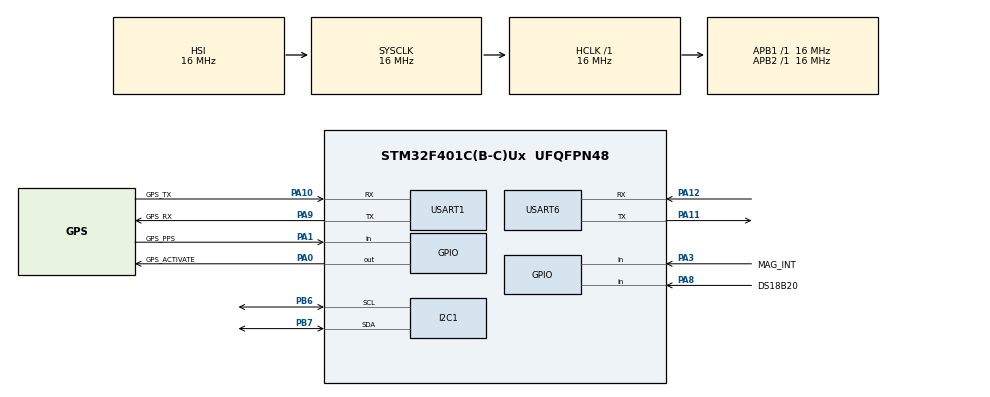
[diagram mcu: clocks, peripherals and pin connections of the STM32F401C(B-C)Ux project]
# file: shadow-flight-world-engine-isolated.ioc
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FREERTOS.Tasks01=defaultTask,0,128,StartDefaultTask,Default,NULL,Dynamic,NULL,NULL
Mcu.Family=STM32F4
Mcu.Name=STM32F401C(B-C)Ux
Mcu.Package=UFQFPN48
NVIC.PriorityGroup=NVIC_PRIORITYGROUP_4
NVIC.TIM1_UP_TIM10_IRQn=true\:15\:0\:false\:false\:true\:false\:false\:true\:true
NVIC.TimeBase=TIM1_UP_TIM10_IRQn
NVIC.TimeBaseIP=TIM1
PA0-WKUP.GPIO_Label=GPS_ACTIVATE
PA0-WKUP.Signal=GPIO_Output
PA1.GPIO_Label=GPS_PPS
PA1.Signal=GPIO_Input
PA10.GPIO_Label=GPS_TX
PA10.Mode=Asynchronous
PA10.Signal=USART1_RX
PA11.Mode=Asynchronous
PA11.Signal=USART6_TX
PA12.Mode=Asynchronous
PA12.Signal=USART6_RX
PA3.GPIO_Label=MAG_INT
PA3.Signal=GPIO_Input
PA8.GPIO_Label=DS18B20
PA8.Signal=GPIO_Input
PA9.GPIO_Label=GPS_RX
PA9.Mode=Asynchronous
PA9.Signal=USART1_TX
PB6.Mode=I2C
PB6.Signal=I2C1_SCL
PB7.Mode=I2C
PB7.Signal=I2C1_SDA
PH0\ -\ OSC_IN.Mode=HSE-External-Oscillator
PH0\ -\ OSC_IN.Signal=RCC_OSC_IN
PH1\ -\ OSC_OUT.Mode=HSE-External-Oscillator
PH1\ -\ OSC_OUT.Signal=RCC_OSC_OUT
ProjectManager.HeapSize=0x200
ProjectManager.StackSize=0x400
ProjectManager.TargetToolchain=STM32CubeIDE
RCC.AHBFreq_Value=16000000
RCC.APB1Freq_Value=16000000
RCC.APB2Freq_Value=16000000
RCC.CortexFreq_Value=16000000
RCC.HSE_VALUE=25000000
RCC.HSI_VALUE=16000000
RCC.LSE_VALUE=32768
RCC.SYSCLKFreq_VALUE=16000000
RCC.VCOOutputFreq_Value=192000000
USART1.VirtualMode=VM_ASYNC
USART6.VirtualMode=VM_ASYNC
VP_FREERTOS_VS_CMSIS_V1.Mode=CMSIS_V1
VP_SYS_VS_tim1.Mode=TIM1
board=custom

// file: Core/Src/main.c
/* USER CODE BEGIN Header */
/**
  ******************************************************************************
  * @file           : main.c
  * @brief          : Main program body
  ******************************************************************************
  * @attention
  *
  * Copyright (c) 2025 STMicroelectronics.
  * All rights reserved.
  *
  * This software is licensed under terms that can be found in the LICENSE file
  * in the root directory of this software component.
  * If no LICENSE file comes with this software, it is provided AS-IS.
  *
  ******************************************************************************
  */
/* USER CODE END Header */
#include "main.h"
#include "cmsis_os.h"

I2C_HandleTypeDef hi2c1;

UART_HandleTypeDef huart1;
UART_HandleTypeDef huart6;

osThreadId defaultTaskHandle;
/* USER CODE BEGIN PV */

/* task handles */
osThreadId debug_task_handle;
osThreadId read_board_voltage_task_handle;
osThreadId read_inhibit_switch_task_handle;
osThreadId activate_board_task_handle;
osThreadId deactivate_board_task_handle;
osThreadId read_mpu6050_task_handle;
osThreadId read_magnetometer_task_handle;
osThreadId read_adxl_task_handle;
osThreadId read_GPS_task_handle;
osThreadId read_sun_sensors_task_handle;

/*monitor tasks*/
osThreadId monitor_tasks_task_handle;

/* USER CODE END PV */

void SystemClock_Config(void);
static void MX_GPIO_Init(void);
static void MX_I2C1_Init(void);
static void MX_USART1_UART_Init(void);
static void MX_USART6_UART_Init(void);
void StartDefaultTask(void const * argument);

/* USER CODE BEGIN PFP */
void WORLD_ENGINE_debug_task(void const* argument);
void WORLD_ENGINE_read_board_voltage_task(void const* argument);
void WORLD_ENGINE_read_inhibit_switch_task(void const* argument);
void WORLD_ENGINE_activate_board_task(void const* argument);
void WORLD_ENGINE_deactivate_board_task(void const* argument);
void WORLD_ENGINE_read_mpu6050_task(void const* argument);
void WORLD_ENGINE_read_magnetometer_task(void const* argument);
void WORLD_ENGINE_read_adxl_task(void const* argument);
void WORLD_ENGINE_read_sun_sensors_task(void const* argument);
void WORLD_ENGINE_read_GPS(void const* argument);
void WORLD_ENGINE_monitor_tasks_task(void const* argument);

/* USER CODE END PFP */

int main(void)
{

  /* MCU Configuration--------------------------------------------------------*/

  /* Reset of all peripherals, Initializes the Flash interface and the Systick. */
  HAL_Init();

  /* Configure the system clock */
  SystemClock_Config();

  /* Initialize all configured peripherals */
  MX_GPIO_Init();
  MX_I2C1_Init();
  MX_USART1_UART_Init();
  MX_USART6_UART_Init();

  /* Create the thread(s) */
  /* definition and creation of defaultTask */
  osThreadDef(defaultTask, StartDefaultTask, osPriorityNormal, 0, 128);
  defaultTaskHandle = osThreadCreate(osThread(defaultTask), NULL);

  /* Start scheduler */
  osKernelStart();

  /* We should never get here as control is now taken by the scheduler */

  /* Infinite loop */
  while (1)
  {

  }
}

void SystemClock_Config(void)
{
  RCC_OscInitTypeDef RCC_OscInitStruct = {0};
  RCC_ClkInitTypeDef RCC_ClkInitStruct = {0};

  /** Configure the main internal regulator output voltage
  */
  __HAL_RCC_PWR_CLK_ENABLE();
  __HAL_PWR_VOLTAGESCALING_CONFIG(PWR_REGULATOR_VOLTAGE_SCALE2);

  /** Initializes the RCC Oscillators according to the specified parameters
  * in the RCC_OscInitTypeDef structure.
  */
  RCC_OscInitStruct.OscillatorType = RCC_OSCILLATORTYPE_HSI;
  RCC_OscInitStruct.HSIState = RCC_HSI_ON;
  RCC_OscInitStruct.HSICalibrationValue = RCC_HSICALIBRATION_DEFAULT;
  RCC_OscInitStruct.PLL.PLLState = RCC_PLL_NONE;
  if (HAL_RCC_OscConfig(&RCC_OscInitStruct) != HAL_OK)
  {
    Error_Handler();
  }

  /** Initializes the CPU, AHB and APB buses clocks
  */
  RCC_ClkInitStruct.ClockType = RCC_CLOCKTYPE_HCLK|RCC_CLOCKTYPE_SYSCLK
                              |RCC_CLOCKTYPE_PCLK1|RCC_CLOCKTYPE_PCLK2;
  RCC_ClkInitStruct.SYSCLKSource = RCC_SYSCLKSOURCE_HSI;
  RCC_ClkInitStruct.AHBCLKDivider = RCC_SYSCLK_DIV1;
  RCC_ClkInitStruct.APB1CLKDivider = RCC_HCLK_DIV1;
  RCC_ClkInitStruct.APB2CLKDivider = RCC_HCLK_DIV1;

  if (HAL_RCC_ClockConfig(&RCC_ClkInitStruct, FLASH_LATENCY_0) != HAL_OK)
  {
    Error_Handler();
  }
}

static void MX_I2C1_Init(void)
{

  hi2c1.Instance = I2C1;
  hi2c1.Init.ClockSpeed = 100000;
  hi2c1.Init.DutyCycle = I2C_DUTYCYCLE_2;
  hi2c1.Init.OwnAddress1 = 0;
  hi2c1.Init.AddressingMode = I2C_ADDRESSINGMODE_7BIT;
  hi2c1.Init.DualAddressMode = I2C_DUALADDRESS_DISABLE;
  hi2c1.Init.OwnAddress2 = 0;
  hi2c1.Init.GeneralCallMode = I2C_GENERALCALL_DISABLE;
  hi2c1.Init.NoStretchMode = I2C_NOSTRETCH_DISABLE;
  if (HAL_I2C_Init(&hi2c1) != HAL_OK)
  {
    Error_Handler();
  }

}

static void MX_USART1_UART_Init(void)
{

  huart1.Instance = USART1;
  huart1.Init.BaudRate = 115200;
  huart1.Init.WordLength = UART_WORDLENGTH_8B;
  huart1.Init.StopBits = UART_STOPBITS_1;
  huart1.Init.Parity = UART_PARITY_NONE;
  huart1.Init.Mode = UART_MODE_TX_RX;
  huart1.Init.HwFlowCtl = UART_HWCONTROL_NONE;
  huart1.Init.OverSampling = UART_OVERSAMPLING_16;
  if (HAL_UART_Init(&huart1) != HAL_OK)
  {
    Error_Handler();
  }

}

static void MX_USART6_UART_Init(void)
{

  huart6.Instance = USART6;
  huart6.Init.BaudRate = 115200;
  huart6.Init.WordLength = UART_WORDLENGTH_8B;
  huart6.Init.StopBits = UART_STOPBITS_1;
  huart6.Init.Parity = UART_PARITY_NONE;
  huart6.Init.Mode = UART_MODE_TX_RX;
  huart6.Init.HwFlowCtl = UART_HWCONTROL_NONE;
  huart6.Init.OverSampling = UART_OVERSAMPLING_16;
  if (HAL_UART_Init(&huart6) != HAL_OK)
  {
    Error_Handler();
  }

}

static void MX_GPIO_Init(void)
{
  GPIO_InitTypeDef GPIO_InitStruct = {0};

  /* GPIO Ports Clock Enable */
  __HAL_RCC_GPIOH_CLK_ENABLE();
  __HAL_RCC_GPIOA_CLK_ENABLE();
  __HAL_RCC_GPIOB_CLK_ENABLE();

  /*Configure GPIO pin Output Level */
  HAL_GPIO_WritePin(GPS_ACTIVATE_GPIO_Port, GPS_ACTIVATE_Pin, GPIO_PIN_RESET);

  /*Configure GPIO pin : GPS_ACTIVATE_Pin */
  GPIO_InitStruct.Pin = GPS_ACTIVATE_Pin;
  GPIO_InitStruct.Mode = GPIO_MODE_OUTPUT_PP;
  GPIO_InitStruct.Pull = GPIO_NOPULL;
  GPIO_InitStruct.Speed = GPIO_SPEED_FREQ_LOW;
  HAL_GPIO_Init(GPS_ACTIVATE_GPIO_Port, &GPIO_InitStruct);

  /*Configure GPIO pins : GPS_PPS_Pin MAG_INT_Pin DS18B20_Pin */
  GPIO_InitStruct.Pin = GPS_PPS_Pin|MAG_INT_Pin|DS18B20_Pin;
  GPIO_InitStruct.Mode = GPIO_MODE_INPUT;
  GPIO_InitStruct.Pull = GPIO_NOPULL;
  HAL_GPIO_Init(GPIOA, &GPIO_InitStruct);

}

/* USER CODE BEGIN 4 */

/*
 *
 * ============================== WORLD ENGINE TASKS CREATION ==============================
 *
 */

/**
 * @brief This task reads the data from sensors and sends via UART for debug
 * @param argument Parameter to the task
 * @return none
 */
void WORLD_ENGINE_debug_task(void const * argument)
{

  for(;;)
  {

    vTaskDelay(pdMS_TO_TICKS(1));
  }

}

/**
 * @brief This task reads the data from sensors and sends via UART for debug
 * @param argument Parameter to the task
 * @return none
 */
void WORLD_ENGINE_read_board_voltage(void const * argument)
{

  for(;;)
  {

    vTaskDelay(pdMS_TO_TICKS(1));
  }

}

/**
 * @brief This task reads the data from sensors and sends via UART for debug
 * @param argument Parameter to the task
 * @return none
 */
void WORLD_ENGINE_read_inhibit_switch(void const * argument)
{

  for(;;)
  {

    vTaskDelay(pdMS_TO_TICKS(1));
  }

}

/**
 * @brief This task activates the board via a MOSFET switch
 * @param argument Parameter to the task
 * @return none
 */
void WORLD_ENGINE_activate_board(void const * argument)
{

  for(;;)
  {

    vTaskDelay(pdMS_TO_TICKS(1));
  }

}

/**
 * @brief This task deactivates the board via a MOSFET switch
 * @param argument Parameter to the task
 * @return none
 */
void WORLD_ENGINE_deactivate_board(void const * argument)
{

  for(;;)
  {

    vTaskDelay(pdMS_TO_TICKS(1));
  }

}

/**
 * @brief This task reads MPU6050 IMU sensor
 * @param argument Parameter to the task
 * @return none
 */
void WORLD_ENGINE_read_mpu_6050(void const * argument)
{

  for(;;)
  {

    vTaskDelay(pdMS_TO_TICKS(1));
  }

}

/**
 * @brief This task reads the magnetometer
 * @param argument Parameter to the task
 * @return none
 */
void WORLD_ENGINE_read_magnetometer(void const * argument)
{

  for(;;)
  {

    vTaskDelay(pdMS_TO_TICKS(1));
  }

}

/**
 * @brief This tasks reads the ADXL accelerometer
 * @param argument Parameter to the task
 * @return none
 */
void WORLD_ENGINE_read_adxl(void const * argument)
{

  for(;;)
  {

    vTaskDelay(pdMS_TO_TICKS(1));
  }

}

/**
 * @brief This function reads sun sensors via ADC converter
 * @param argument Parameter to the task
 * @return none
 */
void WORLD_ENGINE_read_sun_sensors(void const * argument)
{

  for(;;)
  {

    vTaskDelay(pdMS_TO_TICKS(1));
  }

}

/* USER CODE END 4 */

void StartDefaultTask(void const * argument)
{
  for(;;)
  {
    osDelay(1);
  }
}

void HAL_TIM_PeriodElapsedCallback(TIM_HandleTypeDef *htim)
{
  if (htim->Instance == TIM1)
  {
    HAL_IncTick();
  }
}

void Error_Handler(void)
{
  __disable_irq();
  while (1)
  {
  }
}

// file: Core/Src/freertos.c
/* USER CODE BEGIN Header */
/**
  ******************************************************************************
  * File Name          : freertos.c
  * Description        : Code for freertos applications
  ******************************************************************************
  * @attention
  *
  * Copyright (c) 2025 STMicroelectronics.
  * All rights reserved.
  *
  * This software is licensed under terms that can be found in the LICENSE file
  * in the root directory of this software component.
  * If no LICENSE file comes with this software, it is provided AS-IS.
  *
  ******************************************************************************
  */
/* USER CODE END Header */

#include "FreeRTOS.h"
#include "task.h"
#include "main.h"

/* GetIdleTaskMemory prototype (linked to static allocation support) */
void vApplicationGetIdleTaskMemory( StaticTask_t **ppxIdleTaskTCBBuffer, StackType_t **ppxIdleTaskStackBuffer, uint32_t *pulIdleTaskStackSize );

/* USER CODE BEGIN GET_IDLE_TASK_MEMORY */
static StaticTask_t xIdleTaskTCBBuffer;
static StackType_t xIdleStack[configMINIMAL_STACK_SIZE];

void vApplicationGetIdleTaskMemory( StaticTask_t **ppxIdleTaskTCBBuffer, StackType_t **ppxIdleTaskStackBuffer, uint32_t *pulIdleTaskStackSize )
{
  *ppxIdleTaskTCBBuffer = &xIdleTaskTCBBuffer;
  *ppxIdleTaskStackBuffer = &xIdleStack[0];
  *pulIdleTaskStackSize = configMINIMAL_STACK_SIZE;
  /* place for user code */
}
/* USER CODE END GET_IDLE_TASK_MEMORY */
